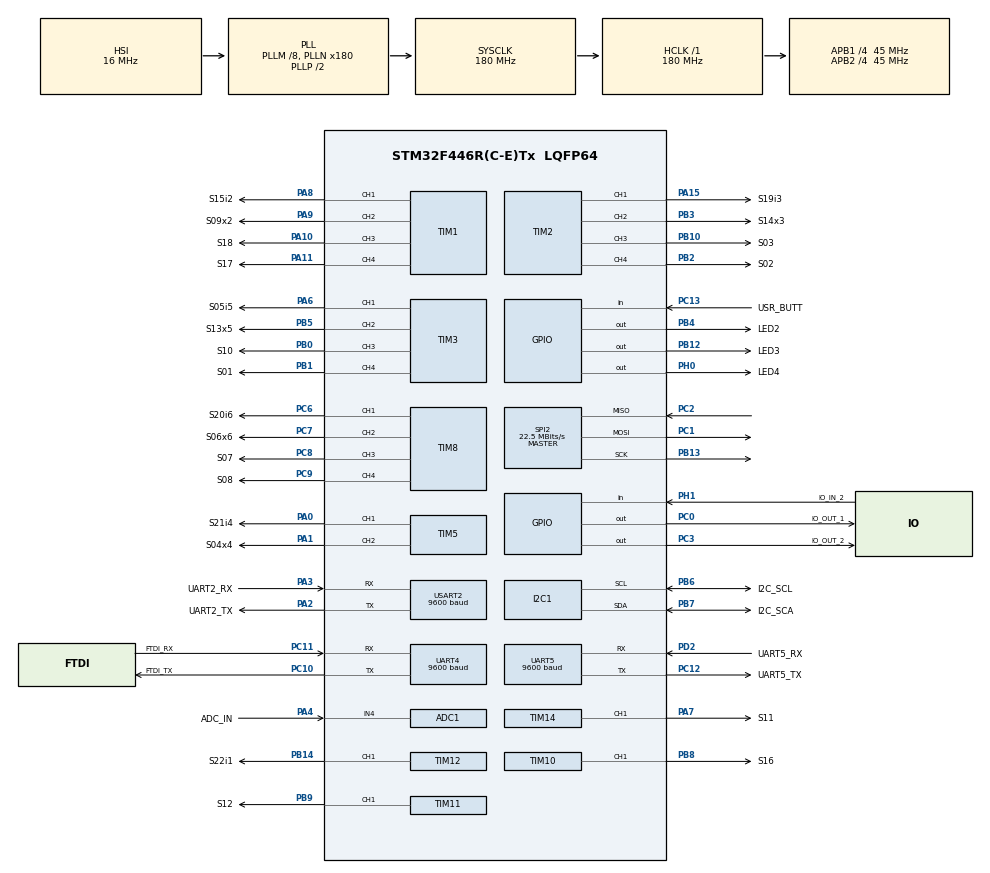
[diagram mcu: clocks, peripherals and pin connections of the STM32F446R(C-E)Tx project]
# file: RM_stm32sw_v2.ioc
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ADC1.Channel-0\#ChannelRegularConversion=ADC_CHANNEL_4
ADC1.NbrOfConversionFlag=1
ADC1.Rank-0\#ChannelRegularConversion=1
ADC1.SamplingTime-0\#ChannelRegularConversion=ADC_SAMPLETIME_3CYCLES
ADC1.master=1
Dma.Request0=USART2_RX
Dma.Request1=USART2_TX
Dma.Request2=UART4_RX
Dma.Request3=UART4_TX
Dma.Request4=UART5_RX
Dma.Request5=UART5_TX
Dma.Request6=SPI2_RX
Dma.SPI2_RX.6.Direction=DMA_PERIPH_TO_MEMORY
Dma.SPI2_RX.6.FIFOMode=DMA_FIFOMODE_DISABLE
Dma.SPI2_RX.6.Instance=DMA1_Stream3
Dma.SPI2_RX.6.MemDataAlignment=DMA_MDATAALIGN_BYTE
Dma.SPI2_RX.6.MemInc=DMA_MINC_ENABLE
Dma.SPI2_RX.6.Mode=DMA_NORMAL
Dma.SPI2_RX.6.PeriphDataAlignment=DMA_PDATAALIGN_BYTE
Dma.SPI2_RX.6.PeriphInc=DMA_PINC_DISABLE
Dma.SPI2_RX.6.Priority=DMA_PRIORITY_LOW
Dma.UART4_RX.2.Direction=DMA_PERIPH_TO_MEMORY
Dma.UART4_RX.2.FIFOMode=DMA_FIFOMODE_DISABLE
Dma.UART4_RX.2.Instance=DMA1_Stream2
Dma.UART4_RX.2.MemDataAlignment=DMA_MDATAALIGN_BYTE
Dma.UART4_RX.2.MemInc=DMA_MINC_ENABLE
Dma.UART4_RX.2.Mode=DMA_NORMAL
Dma.UART4_RX.2.PeriphDataAlignment=DMA_PDATAALIGN_BYTE
Dma.UART4_RX.2.PeriphInc=DMA_PINC_DISABLE
Dma.UART4_RX.2.Priority=DMA_PRIORITY_LOW
Dma.UART4_TX.3.Direction=DMA_MEMORY_TO_PERIPH
Dma.UART4_TX.3.FIFOMode=DMA_FIFOMODE_DISABLE
Dma.UART4_TX.3.Instance=DMA1_Stream4
Dma.UART4_TX.3.MemDataAlignment=DMA_MDATAALIGN_BYTE
Dma.UART4_TX.3.MemInc=DMA_MINC_ENABLE
Dma.UART4_TX.3.Mode=DMA_NORMAL
Dma.UART4_TX.3.PeriphDataAlignment=DMA_PDATAALIGN_BYTE
Dma.UART4_TX.3.PeriphInc=DMA_PINC_DISABLE
Dma.UART4_TX.3.Priority=DMA_PRIORITY_LOW
Dma.UART5_RX.4.Direction=DMA_PERIPH_TO_MEMORY
Dma.UART5_RX.4.FIFOMode=DMA_FIFOMODE_DISABLE
Dma.UART5_RX.4.Instance=DMA1_Stream0
Dma.UART5_RX.4.MemDataAlignment=DMA_MDATAALIGN_BYTE
Dma.UART5_RX.4.MemInc=DMA_MINC_ENABLE
Dma.UART5_RX.4.Mode=DMA_NORMAL
Dma.UART5_RX.4.PeriphDataAlignment=DMA_PDATAALIGN_BYTE
Dma.UART5_RX.4.PeriphInc=DMA_PINC_DISABLE
Dma.UART5_RX.4.Priority=DMA_PRIORITY_LOW
Dma.UART5_TX.5.Direction=DMA_MEMORY_TO_PERIPH
Dma.UART5_TX.5.FIFOMode=DMA_FIFOMODE_DISABLE
Dma.UART5_TX.5.Instance=DMA1_Stream7
Dma.UART5_TX.5.MemDataAlignment=DMA_MDATAALIGN_BYTE
Dma.UART5_TX.5.MemInc=DMA_MINC_ENABLE
Dma.UART5_TX.5.Mode=DMA_NORMAL
Dma.UART5_TX.5.PeriphDataAlignment=DMA_PDATAALIGN_BYTE
Dma.UART5_TX.5.PeriphInc=DMA_PINC_DISABLE
Dma.UART5_TX.5.Priority=DMA_PRIORITY_LOW
Dma.USART2_RX.0.Direction=DMA_PERIPH_TO_MEMORY
Dma.USART2_RX.0.FIFOMode=DMA_FIFOMODE_DISABLE
Dma.USART2_RX.0.Instance=DMA1_Stream5
Dma.USART2_RX.0.MemDataAlignment=DMA_MDATAALIGN_BYTE
Dma.USART2_RX.0.MemInc=DMA_MINC_ENABLE
Dma.USART2_RX.0.Mode=DMA_NORMAL
Dma.USART2_RX.0.PeriphDataAlignment=DMA_PDATAALIGN_BYTE
Dma.USART2_RX.0.PeriphInc=DMA_PINC_DISABLE
Dma.USART2_RX.0.Priority=DMA_PRIORITY_LOW
Dma.USART2_TX.1.Direction=DMA_MEMORY_TO_PERIPH
Dma.USART2_TX.1.FIFOMode=DMA_FIFOMODE_DISABLE
Dma.USART2_TX.1.Instance=DMA1_Stream6
Dma.USART2_TX.1.MemDataAlignment=DMA_MDATAALIGN_BYTE
Dma.USART2_TX.1.MemInc=DMA_MINC_ENABLE
Dma.USART2_TX.1.Mode=DMA_NORMAL
Dma.USART2_TX.1.PeriphDataAlignment=DMA_PDATAALIGN_BYTE
Dma.USART2_TX.1.PeriphInc=DMA_PINC_DISABLE
Dma.USART2_TX.1.Priority=DMA_PRIORITY_LOW
Mcu.Family=STM32F4
Mcu.Name=STM32F446R(C-E)Tx
Mcu.Package=LQFP64
NVIC.DMA1_Stream0_IRQn=true\:0\:0\:false\:false\:true\:false\:true
NVIC.DMA1_Stream2_IRQn=true\:0\:0\:false\:false\:true\:false\:true
NVIC.DMA1_Stream3_IRQn=true\:0\:0\:false\:false\:true\:false\:true
NVIC.DMA1_Stream4_IRQn=true\:0\:0\:false\:false\:true\:false\:true
NVIC.DMA1_Stream5_IRQn=true\:0\:0\:false\:false\:true\:false\:true
NVIC.DMA1_Stream6_IRQn=true\:0\:0\:false\:false\:true\:false\:true
NVIC.DMA1_Stream7_IRQn=true\:0\:0\:false\:false\:true\:false\:true
NVIC.PriorityGroup=NVIC_PRIORITYGROUP_4
NVIC.UART4_IRQn=true\:0\:0\:false\:false\:true\:true\:true
PA0-WKUP.GPIO_Label=S21i4
PA0-WKUP.Signal=S_TIM5_CH1
PA1.GPIO_Label=S04x4
PA1.Signal=S_TIM5_CH2
PA10.GPIO_Label=S18
PA10.Signal=S_TIM1_CH3
PA11.GPIO_Label=S17
PA11.Signal=S_TIM1_CH4
PA13.GPIO_Label=SWDIO
PA13.Mode=Serial_Wire
PA13.Signal=SYS_JTMS-SWDIO
PA14.GPIO_Label=SWCLK
PA14.Mode=Serial_Wire
PA14.Signal=SYS_JTCK-SWCLK
PA15.GPIO_Label=S19i3
PA15.Signal=S_TIM2_CH1_ETR
PA2.GPIO_Label=UART2_TX
PA2.Mode=Asynchronous
PA2.Signal=USART2_TX
PA3.GPIO_Label=UART2_RX
PA3.Mode=Asynchronous
PA3.Signal=USART2_RX
PA4.GPIO_Label=ADC_IN
PA4.Signal=SharedAnalog_PA4
PA6.GPIO_Label=S05i5
PA6.Signal=S_TIM3_CH1
PA7.GPIO_Label=S11
PA7.Signal=S_TIM14_CH1
PA8.GPIO_Label=S15i2
PA8.Signal=S_TIM1_CH1
PA9.GPIO_Label=S09x2
PA9.Signal=S_TIM1_CH2
PB0.GPIO_Label=S10
PB0.Signal=S_TIM3_CH3
PB1.GPIO_Label=S01
PB1.Signal=S_TIM3_CH4
PB10.GPIO_Label=S03
PB10.Signal=S_TIM2_CH3
PB12.GPIO_Label=LED3
PB12.Signal=GPIO_Output
PB13.Mode=Full_Duplex_Master
PB13.Signal=SPI2_SCK
PB14.GPIO_Label=S22i1
PB14.Signal=S_TIM12_CH1
PB2.GPIO_Label=S02
PB2.Signal=S_TIM2_CH4
PB3.GPIO_Label=S14x3
PB3.Signal=S_TIM2_CH2
PB4.GPIO_Label=LED2
PB4.Signal=GPIO_Output
PB5.GPIO_Label=S13x5
PB5.Signal=S_TIM3_CH2
PB6.GPIO_Label=I2C_SCL
PB6.Mode=I2C
PB6.Signal=I2C1_SCL
PB7.GPIO_Label=I2C_SCA
PB7.Mode=I2C
PB7.Signal=I2C1_SDA
PB8.GPIO_Label=S16
PB8.Signal=S_TIM10_CH1
PB9.GPIO_Label=S12
PB9.Signal=S_TIM11_CH1
PC0.GPIO_Label=IO_OUT_1
PC0.Signal=GPIO_Output
PC1.Mode=Full_Duplex_Master
PC1.Signal=SPI2_MOSI
PC10.GPIO_Label=FTDI_TX
PC10.Mode=Asynchronous
PC10.Signal=UART4_TX
PC11.GPIO_Label=FTDI_RX
PC11.Mode=Asynchronous
PC11.Signal=UART4_RX
PC12.GPIO_Label=UART5_TX
PC12.Mode=Asynchronous
PC12.Signal=UART5_TX
PC13.GPIO_Label=USR_BUTT
PC13.Signal=GPIO_Input
PC14-OSC32_IN.GPIO_Label=OSC_IN
PC14-OSC32_IN.Signal=RCC_OSC32_IN
PC15-OSC32_OUT.GPIO_Label=OSC_OUT
PC15-OSC32_OUT.Signal=RCC_OSC32_OUT
PC2.Mode=Full_Duplex_Master
PC2.Signal=SPI2_MISO
PC3.GPIO_Label=IO_OUT_2
PC3.Signal=GPIO_Output
PC6.GPIO_Label=S20i6
PC6.Signal=S_TIM8_CH1
PC7.GPIO_Label=S06x6
PC7.Signal=S_TIM8_CH2
PC8.GPIO_Label=S07
PC8.Signal=S_TIM8_CH3
PC9.GPIO_Label=S08
PC9.Signal=S_TIM8_CH4
PD2.GPIO_Label=UART5_RX
PD2.Mode=Asynchronous
PD2.Signal=UART5_RX
PH0-OSC_IN.GPIO_Label=LED4
PH0-OSC_IN.Signal=GPIO_Output
PH1-OSC_OUT.GPIO_Label=IO_IN_2
PH1-OSC_OUT.Signal=GPIO_Input
ProjectManager.HeapSize=0x200
ProjectManager.StackSize=0x400
ProjectManager.TargetToolchain=TrueSTUDIO
RCC.AHBFreq_Value=180000000
RCC.APB1CLKDivider=RCC_HCLK_DIV4
RCC.APB1Freq_Value=45000000
RCC.APB1TimFreq_Value=90000000
RCC.APB2CLKDivider=RCC_HCLK_DIV4
RCC.APB2Freq_Value=45000000
RCC.APB2TimFreq_Value=90000000
RCC.CortexFreq_Value=180000000
RCC.HCLKFreq_Value=180000000
RCC.PLLM=8
RCC.PLLN=180
RCC.SYSCLKFreq_VALUE=180000000
RCC.SYSCLKSource=RCC_SYSCLKSOURCE_PLLCLK
RCC.USBFreq_Value=180000000
RCC.VCOOutputFreq_Value=360000000
SH.S_TIM10_CH1.0=TIM10_CH1,PWM Generation1 CH1
SH.S_TIM11_CH1.0=TIM11_CH1,PWM Generation1 CH1
SH.S_TIM12_CH1.0=TIM12_CH1,PWM Generation1 CH1
SH.S_TIM14_CH1.0=TIM14_CH1,PWM Generation1 CH1
SH.S_TIM1_CH1.0=TIM1_CH1,PWM Generation1 CH1
SH.S_TIM1_CH2.0=TIM1_CH2,PWM Generation2 CH2
SH.S_TIM1_CH3.0=TIM1_CH3,PWM Generation3 CH3
SH.S_TIM1_CH4.0=TIM1_CH4,PWM Generation4 CH4
SH.S_TIM2_CH1_ETR.0=TIM2_CH1,PWM Generation1 CH1
SH.S_TIM2_CH2.0=TIM2_CH2,PWM Generation2 CH2
SH.S_TIM2_CH3.0=TIM2_CH3,PWM Generation3 CH3
SH.S_TIM2_CH4.0=TIM2_CH4,PWM Generation4 CH4
SH.S_TIM3_CH1.0=TIM3_CH1,PWM Generation1 CH1
SH.S_TIM3_CH2.0=TIM3_CH2,PWM Generation2 CH2
SH.S_TIM3_CH3.0=TIM3_CH3,PWM Generation3 CH3
SH.S_TIM3_CH4.0=TIM3_CH4,PWM Generation4 CH4
SH.S_TIM5_CH1.0=TIM5_CH1,PWM Generation1 CH1
SH.S_TIM5_CH2.0=TIM5_CH2,PWM Generation2 CH2
SH.S_TIM8_CH1.0=TIM8_CH1,PWM Generation1 CH1
SH.S_TIM8_CH2.0=TIM8_CH2,PWM Generation2 CH2
SH.S_TIM8_CH3.0=TIM8_CH3,PWM Generation3 CH3
SH.S_TIM8_CH4.0=TIM8_CH4,PWM Generation4 CH4
SH.SharedAnalog_PA4.0=GPIO_Analog
SH.SharedAnalog_PA4.1=ADC1_IN4,IN4
SPI2.CalculateBaudRate=22.5 MBits/s
SPI2.Direction=SPI_DIRECTION_2LINES
SPI2.Mode=SPI_MODE_MASTER
SPI2.VirtualType=VM_MASTER
TIM1.Channel-PWM\ Generation1\ CH1=TIM_CHANNEL_1
TIM1.Channel-PWM\ Generation2\ CH2=TIM_CHANNEL_2
TIM1.Channel-PWM\ Generation3\ CH3=TIM_CHANNEL_3
TIM1.Channel-PWM\ Generation4\ CH4=TIM_CHANNEL_4
TIM10.Channel=TIM_CHANNEL_1
TIM11.Channel=TIM_CHANNEL_1
TIM12.Channel-PWM\ Generation1\ CH1=TIM_CHANNEL_1
TIM14.Channel=TIM_CHANNEL_1
TIM2.Channel-PWM\ Generation1\ CH1=TIM_CHANNEL_1
TIM2.Channel-PWM\ Generation2\ CH2=TIM_CHANNEL_2
TIM2.Channel-PWM\ Generation3\ CH3=TIM_CHANNEL_3
TIM2.Channel-PWM\ Generation4\ CH4=TIM_CHANNEL_4
TIM3.Channel-PWM\ Generation1\ CH1=TIM_CHANNEL_1
TIM3.Channel-PWM\ Generation2\ CH2=TIM_CHANNEL_2
TIM3.Channel-PWM\ Generation3\ CH3=TIM_CHANNEL_3
TIM3.Channel-PWM\ Generation4\ CH4=TIM_CHANNEL_4
TIM5.Channel-PWM\ Generation1\ CH1=TIM_CHANNEL_1
TIM5.Channel-PWM\ Generation2\ CH2=TIM_CHANNEL_2
TIM8.Channel-PWM\ Generation1\ CH1=TIM_CHANNEL_1
TIM8.Channel-PWM\ Generation2\ CH2=TIM_CHANNEL_2
TIM8.Channel-PWM\ Generation3\ CH3=TIM_CHANNEL_3
TIM8.Channel-PWM\ Generation4\ CH4=TIM_CHANNEL_4
UART4.BaudRate=9600
UART4.VirtualMode=Asynchronous
UART5.BaudRate=9600
UART5.VirtualMode=Asynchronous
USART2.BaudRate=9600
USART2.VirtualMode=VM_ASYNC
VP_RTC_VS_RTC_Activate.Mode=RTC_Enabled
VP_TIM10_VS_ClockSourceINT.Mode=Enable_Timer
VP_TIM11_VS_ClockSourceINT.Mode=Enable_Timer
VP_TIM12_VS_ClockSourceINT.Mode=Internal
VP_TIM14_VS_ClockSourceINT.Mode=Enable_Timer
VP_TIM1_VS_ClockSourceINT.Mode=Internal
VP_TIM2_VS_ClockSourceINT.Mode=Internal
VP_TIM3_VS_ClockSourceINT.Mode=Internal
VP_TIM8_VS_ClockSourceINT.Mode=Internal
board=custom

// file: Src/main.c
/* USER CODE BEGIN Header */
/**
  ******************************************************************************
  * @file           : main.c
  * @brief          : Main program body
  ******************************************************************************
  * @attention
  *
  * <h2><center>&copy; Copyright (c) 2020 STMicroelectronics.
  * All rights reserved.</center></h2>
  *
  * This software component is licensed by ST under BSD 3-Clause license,
  * the "License"; You may not use this file except in compliance with the
  * License. You may obtain a copy of the License at:
  *                        opensource.org/licenses/BSD-3-Clause
  *
  ******************************************************************************
  */
/* USER CODE END Header */

#include "main.h"

/* USER CODE BEGIN Includes */
#include "serial.h"

/* USER CODE END Includes */

ADC_HandleTypeDef hadc1;

I2C_HandleTypeDef hi2c1;

RTC_HandleTypeDef hrtc;

SPI_HandleTypeDef hspi2;
DMA_HandleTypeDef hdma_spi2_rx;

TIM_HandleTypeDef htim1;
TIM_HandleTypeDef htim2;
TIM_HandleTypeDef htim3;
TIM_HandleTypeDef htim5;
TIM_HandleTypeDef htim8;
TIM_HandleTypeDef htim10;
TIM_HandleTypeDef htim11;
TIM_HandleTypeDef htim12;
TIM_HandleTypeDef htim14;

UART_HandleTypeDef huart4;
UART_HandleTypeDef huart5;
UART_HandleTypeDef huart2;
DMA_HandleTypeDef hdma_uart4_rx;
DMA_HandleTypeDef hdma_uart4_tx;
DMA_HandleTypeDef hdma_uart5_rx;
DMA_HandleTypeDef hdma_uart5_tx;
DMA_HandleTypeDef hdma_usart2_rx;
DMA_HandleTypeDef hdma_usart2_tx;

/* USER CODE BEGIN PV */
HAL_Serial_Handler FTDI_hserial;
HAL_Serial_Handler BT_hserial;
HAL_LineBuffer_Handler FTDI_hlinebuffer;

/* USER CODE END PV */

void SystemClock_Config(void);
static void MX_GPIO_Init(void);
static void MX_DMA_Init(void);
static void MX_ADC1_Init(void);
static void MX_I2C1_Init(void);
static void MX_RTC_Init(void);
static void MX_SPI2_Init(void);
static void MX_TIM1_Init(void);
static void MX_TIM2_Init(void);
static void MX_TIM3_Init(void);
static void MX_TIM5_Init(void);
static void MX_TIM8_Init(void);
static void MX_TIM10_Init(void);
static void MX_TIM11_Init(void);
static void MX_TIM12_Init(void);
static void MX_TIM14_Init(void);
static void MX_UART4_Init(void);
static void MX_UART5_Init(void);
static void MX_USART2_UART_Init(void);

int main(void)
{
  /* USER CODE BEGIN 1 */
  int i;
  int len;
  char cmd_line[64];

  /* USER CODE END 1 */

  /* MCU Configuration--------------------------------------------------------*/

  /* Reset of all peripherals, Initializes the Flash interface and the Systick. */
  HAL_Init();

  /* Configure the system clock */
  SystemClock_Config();

  /* Initialize all configured peripherals */
  MX_GPIO_Init();
  MX_DMA_Init();
  MX_ADC1_Init();
  MX_I2C1_Init();
  MX_RTC_Init();
  MX_SPI2_Init();
  MX_TIM1_Init();
  MX_TIM2_Init();
  MX_TIM3_Init();
  MX_TIM5_Init();
  MX_TIM8_Init();
  MX_TIM10_Init();
  MX_TIM11_Init();
  MX_TIM12_Init();
  MX_TIM14_Init();
  MX_UART4_Init();
  MX_UART5_Init();
  MX_USART2_UART_Init();
  /* USER CODE BEGIN 2 */

  HAL_Serial_Init(&huart4, &FTDI_hserial);
  HAL_Serial_Init(&huart2, &BT_hserial);
  HAL_LineBuffer_Init(&FTDI_hlinebuffer, &FTDI_hserial);

  LedSwitch(2,GPIO_PIN_SET);
  LedSwitch(3,GPIO_PIN_SET);
  LedSwitch(4,GPIO_PIN_SET);

  /* USER CODE END 2 */

  /* Infinite loop */
  /* USER CODE BEGIN WHILE */

  while (1)
  {
    LedSwitch(4, GPIO_PIN_RESET);
    /* USER CODE END WHILE */

    /* USER CODE BEGIN 3 */
    if(len=HAL_LineBuffer_Read(&FTDI_hlinebuffer, cmd_line, sizeof(cmd_line)))
    {
      HAL_Serial_Write(&FTDI_hserial, (uint8_t *)cmd_line, len);
      // interpret command
    }

    //HAL_Serial_Write(&FTDI_hserial, (uint8_t*)"blabla\n", 7);
    HAL_Delay(500);
    LedSwitch(4, GPIO_PIN_SET);
    HAL_Delay(500);
  }
  /* USER CODE END 3 */
}

void SystemClock_Config(void)
{
  RCC_OscInitTypeDef RCC_OscInitStruct = {0};
  RCC_ClkInitTypeDef RCC_ClkInitStruct = {0};
  RCC_PeriphCLKInitTypeDef PeriphClkInitStruct = {0};

  /** Configure the main internal regulator output voltage
  */
  __HAL_RCC_PWR_CLK_ENABLE();
  __HAL_PWR_VOLTAGESCALING_CONFIG(PWR_REGULATOR_VOLTAGE_SCALE1);
  /** Initializes the CPU, AHB and APB busses clocks
  */
  RCC_OscInitStruct.OscillatorType = RCC_OSCILLATORTYPE_HSI|RCC_OSCILLATORTYPE_LSI;
  RCC_OscInitStruct.LSEState = RCC_LSE_OFF;
  RCC_OscInitStruct.HSIState = RCC_HSI_ON;
  RCC_OscInitStruct.HSICalibrationValue = RCC_HSICALIBRATION_DEFAULT;
  RCC_OscInitStruct.LSIState = RCC_LSI_ON;
  RCC_OscInitStruct.PLL.PLLState = RCC_PLL_ON;
  RCC_OscInitStruct.PLL.PLLSource = RCC_PLLSOURCE_HSI;
  RCC_OscInitStruct.PLL.PLLM = 8;
  RCC_OscInitStruct.PLL.PLLN = 180;
  RCC_OscInitStruct.PLL.PLLP = RCC_PLLP_DIV2;
  RCC_OscInitStruct.PLL.PLLQ = 2;
  RCC_OscInitStruct.PLL.PLLR = 2;
  if (HAL_RCC_OscConfig(&RCC_OscInitStruct) != HAL_OK)
  {
    Error_Handler();
  }
  /** Activate the Over-Drive mode
  */
  if (HAL_PWREx_EnableOverDrive() != HAL_OK)
  {
    Error_Handler();
  }
  /** Initializes the CPU, AHB and APB busses clocks
  */
  RCC_ClkInitStruct.ClockType = RCC_CLOCKTYPE_HCLK|RCC_CLOCKTYPE_SYSCLK
                              |RCC_CLOCKTYPE_PCLK1|RCC_CLOCKTYPE_PCLK2;
  RCC_ClkInitStruct.SYSCLKSource = RCC_SYSCLKSOURCE_PLLCLK;
  RCC_ClkInitStruct.AHBCLKDivider = RCC_SYSCLK_DIV1;
  RCC_ClkInitStruct.APB1CLKDivider = RCC_HCLK_DIV4;
  RCC_ClkInitStruct.APB2CLKDivider = RCC_HCLK_DIV4;

  if (HAL_RCC_ClockConfig(&RCC_ClkInitStruct, FLASH_LATENCY_5) != HAL_OK)
  {
    Error_Handler();
  }
  PeriphClkInitStruct.PeriphClockSelection = RCC_PERIPHCLK_RTC;
  PeriphClkInitStruct.RTCClockSelection = RCC_RTCCLKSOURCE_LSI;
  if (HAL_RCCEx_PeriphCLKConfig(&PeriphClkInitStruct) != HAL_OK)
  {
    Error_Handler();
  }
}

static void MX_ADC1_Init(void)
{

  ADC_ChannelConfTypeDef sConfig = {0};

  /** Configure the global features of the ADC (Clock, Resolution, Data Alignment and number of conversion)
  */
  hadc1.Instance = ADC1;
  hadc1.Init.ClockPrescaler = ADC_CLOCK_SYNC_PCLK_DIV2;
  hadc1.Init.Resolution = ADC_RESOLUTION_12B;
  hadc1.Init.ScanConvMode = DISABLE;
  hadc1.Init.ContinuousConvMode = DISABLE;
  hadc1.Init.DiscontinuousConvMode = DISABLE;
  hadc1.Init.ExternalTrigConvEdge = ADC_EXTERNALTRIGCONVEDGE_NONE;
  hadc1.Init.ExternalTrigConv = ADC_SOFTWARE_START;
  hadc1.Init.DataAlign = ADC_DATAALIGN_RIGHT;
  hadc1.Init.NbrOfConversion = 1;
  hadc1.Init.DMAContinuousRequests = DISABLE;
  hadc1.Init.EOCSelection = ADC_EOC_SINGLE_CONV;
  if (HAL_ADC_Init(&hadc1) != HAL_OK)
  {
    Error_Handler();
  }
  /** Configure for the selected ADC regular channel its corresponding rank in the sequencer and its sample time.
  */
  sConfig.Channel = ADC_CHANNEL_4;
  sConfig.Rank = 1;
  sConfig.SamplingTime = ADC_SAMPLETIME_3CYCLES;
  if (HAL_ADC_ConfigChannel(&hadc1, &sConfig) != HAL_OK)
  {
    Error_Handler();
  }

}

static void MX_I2C1_Init(void)
{

  hi2c1.Instance = I2C1;
  hi2c1.Init.ClockSpeed = 100000;
  hi2c1.Init.DutyCycle = I2C_DUTYCYCLE_2;
  hi2c1.Init.OwnAddress1 = 0;
  hi2c1.Init.AddressingMode = I2C_ADDRESSINGMODE_7BIT;
  hi2c1.Init.DualAddressMode = I2C_DUALADDRESS_DISABLE;
  hi2c1.Init.OwnAddress2 = 0;
  hi2c1.Init.GeneralCallMode = I2C_GENERALCALL_DISABLE;
  hi2c1.Init.NoStretchMode = I2C_NOSTRETCH_DISABLE;
  if (HAL_I2C_Init(&hi2c1) != HAL_OK)
  {
    Error_Handler();
  }

}

static void MX_RTC_Init(void)
{

  /** Initialize RTC Only
  */
  hrtc.Instance = RTC;
  hrtc.Init.HourFormat = RTC_HOURFORMAT_24;
  hrtc.Init.AsynchPrediv = 127;
  hrtc.Init.SynchPrediv = 255;
  hrtc.Init.OutPut = RTC_OUTPUT_DISABLE;
  hrtc.Init.OutPutPolarity = RTC_OUTPUT_POLARITY_HIGH;
  hrtc.Init.OutPutType = RTC_OUTPUT_TYPE_OPENDRAIN;
  if (HAL_RTC_Init(&hrtc) != HAL_OK)
  {
    Error_Handler();
  }

}

static void MX_SPI2_Init(void)
{

  /* SPI2 parameter configuration*/
  hspi2.Instance = SPI2;
  hspi2.Init.Mode = SPI_MODE_MASTER;
  hspi2.Init.Direction = SPI_DIRECTION_2LINES;
  hspi2.Init.DataSize = SPI_DATASIZE_8BIT;
  hspi2.Init.CLKPolarity = SPI_POLARITY_LOW;
  hspi2.Init.CLKPhase = SPI_PHASE_1EDGE;
  hspi2.Init.NSS = SPI_NSS_SOFT;
  hspi2.Init.BaudRatePrescaler = SPI_BAUDRATEPRESCALER_2;
  hspi2.Init.FirstBit = SPI_FIRSTBIT_MSB;
  hspi2.Init.TIMode = SPI_TIMODE_DISABLE;
  hspi2.Init.CRCCalculation = SPI_CRCCALCULATION_DISABLE;
  hspi2.Init.CRCPolynomial = 10;
  if (HAL_SPI_Init(&hspi2) != HAL_OK)
  {
    Error_Handler();
  }

}

static void MX_TIM1_Init(void)
{

  TIM_ClockConfigTypeDef sClockSourceConfig = {0};
  TIM_MasterConfigTypeDef sMasterConfig = {0};
  TIM_OC_InitTypeDef sConfigOC = {0};
  TIM_BreakDeadTimeConfigTypeDef sBreakDeadTimeConfig = {0};

  htim1.Instance = TIM1;
  htim1.Init.Prescaler = 0;
  htim1.Init.CounterMode = TIM_COUNTERMODE_UP;
  htim1.Init.Period = 0;
  htim1.Init.ClockDivision = TIM_CLOCKDIVISION_DIV1;
  htim1.Init.RepetitionCounter = 0;
  htim1.Init.AutoReloadPreload = TIM_AUTORELOAD_PRELOAD_DISABLE;
  if (HAL_TIM_Base_Init(&htim1) != HAL_OK)
  {
    Error_Handler();
  }
  sClockSourceConfig.ClockSource = TIM_CLOCKSOURCE_INTERNAL;
  if (HAL_TIM_ConfigClockSource(&htim1, &sClockSourceConfig) != HAL_OK)
  {
    Error_Handler();
  }
  if (HAL_TIM_PWM_Init(&htim1) != HAL_OK)
  {
    Error_Handler();
  }
  sMasterConfig.MasterOutputTrigger = TIM_TRGO_RESET;
  sMasterConfig.MasterSlaveMode = TIM_MASTERSLAVEMODE_DISABLE;
  if (HAL_TIMEx_MasterConfigSynchronization(&htim1, &sMasterConfig) != HAL_OK)
  {
    Error_Handler();
  }
  sConfigOC.OCMode = TIM_OCMODE_PWM1;
  sConfigOC.Pulse = 0;
  sConfigOC.OCPolarity = TIM_OCPOLARITY_HIGH;
  sConfigOC.OCNPolarity = TIM_OCNPOLARITY_HIGH;
  sConfigOC.OCFastMode = TIM_OCFAST_DISABLE;
  sConfigOC.OCIdleState = TIM_OCIDLESTATE_RESET;
  sConfigOC.OCNIdleState = TIM_OCNIDLESTATE_RESET;
  if (HAL_TIM_PWM_ConfigChannel(&htim1, &sConfigOC, TIM_CHANNEL_1) != HAL_OK)
  {
    Error_Handler();
  }
  if (HAL_TIM_PWM_ConfigChannel(&htim1, &sConfigOC, TIM_CHANNEL_2) != HAL_OK)
  {
    Error_Handler();
  }
  if (HAL_TIM_PWM_ConfigChannel(&htim1, &sConfigOC, TIM_CHANNEL_3) != HAL_OK)
  {
    Error_Handler();
  }
  if (HAL_TIM_PWM_ConfigChannel(&htim1, &sConfigOC, TIM_CHANNEL_4) != HAL_OK)
  {
    Error_Handler();
  }
  sBreakDeadTimeConfig.OffStateRunMode = TIM_OSSR_DISABLE;
  sBreakDeadTimeConfig.OffStateIDLEMode = TIM_OSSI_DISABLE;
  sBreakDeadTimeConfig.LockLevel = TIM_LOCKLEVEL_OFF;
  sBreakDeadTimeConfig.DeadTime = 0;
  sBreakDeadTimeConfig.BreakState = TIM_BREAK_DISABLE;
  sBreakDeadTimeConfig.BreakPolarity = TIM_BREAKPOLARITY_HIGH;
  sBreakDeadTimeConfig.AutomaticOutput = TIM_AUTOMATICOUTPUT_DISABLE;
  if (HAL_TIMEx_ConfigBreakDeadTime(&htim1, &sBreakDeadTimeConfig) != HAL_OK)
  {
    Error_Handler();
  }
  HAL_TIM_MspPostInit(&htim1);

}

static void MX_TIM2_Init(void)
{

  TIM_ClockConfigTypeDef sClockSourceConfig = {0};
  TIM_MasterConfigTypeDef sMasterConfig = {0};
  TIM_OC_InitTypeDef sConfigOC = {0};

  htim2.Instance = TIM2;
  htim2.Init.Prescaler = 0;
  htim2.Init.CounterMode = TIM_COUNTERMODE_UP;
  htim2.Init.Period = 0;
  htim2.Init.ClockDivision = TIM_CLOCKDIVISION_DIV1;
  htim2.Init.AutoReloadPreload = TIM_AUTORELOAD_PRELOAD_DISABLE;
  if (HAL_TIM_Base_Init(&htim2) != HAL_OK)
  {
    Error_Handler();
  }
  sClockSourceConfig.ClockSource = TIM_CLOCKSOURCE_INTERNAL;
  if (HAL_TIM_ConfigClockSource(&htim2, &sClockSourceConfig) != HAL_OK)
  {
    Error_Handler();
  }
  if (HAL_TIM_PWM_Init(&htim2) != HAL_OK)
  {
    Error_Handler();
  }
  sMasterConfig.MasterOutputTrigger = TIM_TRGO_RESET;
  sMasterConfig.MasterSlaveMode = TIM_MASTERSLAVEMODE_DISABLE;
  if (HAL_TIMEx_MasterConfigSynchronization(&htim2, &sMasterConfig) != HAL_OK)
  {
    Error_Handler();
  }
  sConfigOC.OCMode = TIM_OCMODE_PWM1;
  sConfigOC.Pulse = 0;
  sConfigOC.OCPolarity = TIM_OCPOLARITY_HIGH;
  sConfigOC.OCFastMode = TIM_OCFAST_DISABLE;
  if (HAL_TIM_PWM_ConfigChannel(&htim2, &sConfigOC, TIM_CHANNEL_1) != HAL_OK)
  {
    Error_Handler();
  }
  if (HAL_TIM_PWM_ConfigChannel(&htim2, &sConfigOC, TIM_CHANNEL_2) != HAL_OK)
  {
    Error_Handler();
  }
  if (HAL_TIM_PWM_ConfigChannel(&htim2, &sConfigOC, TIM_CHANNEL_3) != HAL_OK)
  {
    Error_Handler();
  }
  if (HAL_TIM_PWM_ConfigChannel(&htim2, &sConfigOC, TIM_CHANNEL_4) != HAL_OK)
  {
    Error_Handler();
  }
  HAL_TIM_MspPostInit(&htim2);

}

static void MX_TIM3_Init(void)
{

  TIM_ClockConfigTypeDef sClockSourceConfig = {0};
  TIM_MasterConfigTypeDef sMasterConfig = {0};
  TIM_OC_InitTypeDef sConfigOC = {0};

  htim3.Instance = TIM3;
  htim3.Init.Prescaler = 0;
  htim3.Init.CounterMode = TIM_COUNTERMODE_UP;
  htim3.Init.Period = 0;
  htim3.Init.ClockDivision = TIM_CLOCKDIVISION_DIV1;
  htim3.Init.AutoReloadPreload = TIM_AUTORELOAD_PRELOAD_DISABLE;
  if (HAL_TIM_Base_Init(&htim3) != HAL_OK)
  {
    Error_Handler();
  }
  sClockSourceConfig.ClockSource = TIM_CLOCKSOURCE_INTERNAL;
  if (HAL_TIM_ConfigClockSource(&htim3, &sClockSourceConfig) != HAL_OK)
  {
    Error_Handler();
  }
  if (HAL_TIM_PWM_Init(&htim3) != HAL_OK)
  {
    Error_Handler();
  }
  sMasterConfig.MasterOutputTrigger = TIM_TRGO_RESET;
  sMasterConfig.MasterSlaveMode = TIM_MASTERSLAVEMODE_DISABLE;
  if (HAL_TIMEx_MasterConfigSynchronization(&htim3, &sMasterConfig) != HAL_OK)
  {
    Error_Handler();
  }
  sConfigOC.OCMode = TIM_OCMODE_PWM1;
  sConfigOC.Pulse = 0;
  sConfigOC.OCPolarity = TIM_OCPOLARITY_HIGH;
  sConfigOC.OCFastMode = TIM_OCFAST_DISABLE;
  if (HAL_TIM_PWM_ConfigChannel(&htim3, &sConfigOC, TIM_CHANNEL_1) != HAL_OK)
  {
    Error_Handler();
  }
  if (HAL_TIM_PWM_ConfigChannel(&htim3, &sConfigOC, TIM_CHANNEL_2) != HAL_OK)
  {
    Error_Handler();
  }
  if (HAL_TIM_PWM_ConfigChannel(&htim3, &sConfigOC, TIM_CHANNEL_3) != HAL_OK)
  {
    Error_Handler();
  }
  if (HAL_TIM_PWM_ConfigChannel(&htim3, &sConfigOC, TIM_CHANNEL_4) != HAL_OK)
  {
    Error_Handler();
  }
  HAL_TIM_MspPostInit(&htim3);

}

static void MX_TIM5_Init(void)
{

  TIM_MasterConfigTypeDef sMasterConfig = {0};
  TIM_OC_InitTypeDef sConfigOC = {0};

  htim5.Instance = TIM5;
  htim5.Init.Prescaler = 0;
  htim5.Init.CounterMode = TIM_COUNTERMODE_UP;
  htim5.Init.Period = 0;
  htim5.Init.ClockDivision = TIM_CLOCKDIVISION_DIV1;
  htim5.Init.AutoReloadPreload = TIM_AUTORELOAD_PRELOAD_DISABLE;
  if (HAL_TIM_PWM_Init(&htim5) != HAL_OK)
  {
    Error_Handler();
  }
  sMasterConfig.MasterOutputTrigger = TIM_TRGO_RESET;
  sMasterConfig.MasterSlaveMode = TIM_MASTERSLAVEMODE_DISABLE;
  if (HAL_TIMEx_MasterConfigSynchronization(&htim5, &sMasterConfig) != HAL_OK)
  {
    Error_Handler();
  }
  sConfigOC.OCMode = TIM_OCMODE_PWM1;
  sConfigOC.Pulse = 0;
  sConfigOC.OCPolarity = TIM_OCPOLARITY_HIGH;
  sConfigOC.OCFastMode = TIM_OCFAST_DISABLE;
  if (HAL_TIM_PWM_ConfigChannel(&htim5, &sConfigOC, TIM_CHANNEL_1) != HAL_OK)
  {
    Error_Handler();
  }
  if (HAL_TIM_PWM_ConfigChannel(&htim5, &sConfigOC, TIM_CHANNEL_2) != HAL_OK)
  {
    Error_Handler();
  }
  HAL_TIM_MspPostInit(&htim5);

}

static void MX_TIM8_Init(void)
{

  TIM_ClockConfigTypeDef sClockSourceConfig = {0};
  TIM_MasterConfigTypeDef sMasterConfig = {0};
  TIM_OC_InitTypeDef sConfigOC = {0};
  TIM_BreakDeadTimeConfigTypeDef sBreakDeadTimeConfig = {0};

  htim8.Instance = TIM8;
  htim8.Init.Prescaler = 0;
  htim8.Init.CounterMode = TIM_COUNTERMODE_UP;
  htim8.Init.Period = 0;
  htim8.Init.ClockDivision = TIM_CLOCKDIVISION_DIV1;
  htim8.Init.RepetitionCounter = 0;
  htim8.Init.AutoReloadPreload = TIM_AUTORELOAD_PRELOAD_DISABLE;
  if (HAL_TIM_Base_Init(&htim8) != HAL_OK)
  {
    Error_Handler();
  }
  sClockSourceConfig.ClockSource = TIM_CLOCKSOURCE_INTERNAL;
  if (HAL_TIM_ConfigClockSource(&htim8, &sClockSourceConfig) != HAL_OK)
  {
    Error_Handler();
  }
  if (HAL_TIM_PWM_Init(&htim8) != HAL_OK)
  {
    Error_Handler();
  }
  sMasterConfig.MasterOutputTrigger = TIM_TRGO_RESET;
  sMasterConfig.MasterSlaveMode = TIM_MASTERSLAVEMODE_DISABLE;
  if (HAL_TIMEx_MasterConfigSynchronization(&htim8, &sMasterConfig) != HAL_OK)
  {
    Error_Handler();
  }
  sConfigOC.OCMode = TIM_OCMODE_PWM1;
  sConfigOC.Pulse = 0;
  sConfigOC.OCPolarity = TIM_OCPOLARITY_HIGH;
  sConfigOC.OCNPolarity = TIM_OCNPOLARITY_HIGH;
  sConfigOC.OCFastMode = TIM_OCFAST_DISABLE;
  sConfigOC.OCIdleState = TIM_OCIDLESTATE_RESET;
  sConfigOC.OCNIdleState = TIM_OCNIDLESTATE_RESET;
  if (HAL_TIM_PWM_ConfigChannel(&htim8, &sConfigOC, TIM_CHANNEL_1) != HAL_OK)
  {
    Error_Handler();
  }
  if (HAL_TIM_PWM_ConfigChannel(&htim8, &sConfigOC, TIM_CHANNEL_2) != HAL_OK)
  {
    Error_Handler();
  }
  if (HAL_TIM_PWM_ConfigChannel(&htim8, &sConfigOC, TIM_CHANNEL_3) != HAL_OK)
  {
    Error_Handler();
  }
  if (HAL_TIM_PWM_ConfigChannel(&htim8, &sConfigOC, TIM_CHANNEL_4) != HAL_OK)
  {
    Error_Handler();
  }
  sBreakDeadTimeConfig.OffStateRunMode = TIM_OSSR_DISABLE;
  sBreakDeadTimeConfig.OffStateIDLEMode = TIM_OSSI_DISABLE;
  sBreakDeadTimeConfig.LockLevel = TIM_LOCKLEVEL_OFF;
  sBreakDeadTimeConfig.DeadTime = 0;
  sBreakDeadTimeConfig.BreakState = TIM_BREAK_DISABLE;
  sBreakDeadTimeConfig.BreakPolarity = TIM_BREAKPOLARITY_HIGH;
  sBreakDeadTimeConfig.AutomaticOutput = TIM_AUTOMATICOUTPUT_DISABLE;
  if (HAL_TIMEx_ConfigBreakDeadTime(&htim8, &sBreakDeadTimeConfig) != HAL_OK)
  {
    Error_Handler();
  }
  HAL_TIM_MspPostInit(&htim8);

}

static void MX_TIM10_Init(void)
{

  TIM_OC_InitTypeDef sConfigOC = {0};

  htim10.Instance = TIM10;
  htim10.Init.Prescaler = 0;
  htim10.Init.CounterMode = TIM_COUNTERMODE_UP;
  htim10.Init.Period = 0;
  htim10.Init.ClockDivision = TIM_CLOCKDIVISION_DIV1;
  htim10.Init.AutoReloadPreload = TIM_AUTORELOAD_PRELOAD_DISABLE;
  if (HAL_TIM_Base_Init(&htim10) != HAL_OK)
  {
    Error_Handler();
  }
  if (HAL_TIM_PWM_Init(&htim10) != HAL_OK)
  {
    Error_Handler();
  }
  sConfigOC.OCMode = TIM_OCMODE_PWM1;
  sConfigOC.Pulse = 0;
  sConfigOC.OCPolarity = TIM_OCPOLARITY_HIGH;
  sConfigOC.OCFastMode = TIM_OCFAST_DISABLE;
  if (HAL_TIM_PWM_ConfigChannel(&htim10, &sConfigOC, TIM_CHANNEL_1) != HAL_OK)
  {
    Error_Handler();
  }
  HAL_TIM_MspPostInit(&htim10);

}

static void MX_TIM11_Init(void)
{

  TIM_OC_InitTypeDef sConfigOC = {0};

  htim11.Instance = TIM11;
  htim11.Init.Prescaler = 0;
  htim11.Init.CounterMode = TIM_COUNTERMODE_UP;
  htim11.Init.Period = 0;
  htim11.Init.ClockDivision = TIM_CLOCKDIVISION_DIV1;
  htim11.Init.AutoReloadPreload = TIM_AUTORELOAD_PRELOAD_DISABLE;
  if (HAL_TIM_Base_Init(&htim11) != HAL_OK)
  {
    Error_Handler();
  }
  if (HAL_TIM_PWM_Init(&htim11) != HAL_OK)
  {
    Error_Handler();
  }
  sConfigOC.OCMode = TIM_OCMODE_PWM1;
  sConfigOC.Pulse = 0;
  sConfigOC.OCPolarity = TIM_OCPOLARITY_HIGH;
  sConfigOC.OCFastMode = TIM_OCFAST_DISABLE;
  if (HAL_TIM_PWM_ConfigChannel(&htim11, &sConfigOC, TIM_CHANNEL_1) != HAL_OK)
  {
    Error_Handler();
  }
  HAL_TIM_MspPostInit(&htim11);

}

static void MX_TIM12_Init(void)
{

  TIM_ClockConfigTypeDef sClockSourceConfig = {0};
  TIM_OC_InitTypeDef sConfigOC = {0};

  htim12.Instance = TIM12;
  htim12.Init.Prescaler = 0;
  htim12.Init.CounterMode = TIM_COUNTERMODE_UP;
  htim12.Init.Period = 0;
  htim12.Init.ClockDivision = TIM_CLOCKDIVISION_DIV1;
  htim12.Init.AutoReloadPreload = TIM_AUTORELOAD_PRELOAD_DISABLE;
  if (HAL_TIM_Base_Init(&htim12) != HAL_OK)
  {
    Error_Handler();
  }
  sClockSourceConfig.ClockSource = TIM_CLOCKSOURCE_INTERNAL;
  if (HAL_TIM_ConfigClockSource(&htim12, &sClockSourceConfig) != HAL_OK)
  {
    Error_Handler();
  }
  if (HAL_TIM_PWM_Init(&htim12) != HAL_OK)
  {
    Error_Handler();
  }
  sConfigOC.OCMode = TIM_OCMODE_PWM1;
  sConfigOC.Pulse = 0;
  sConfigOC.OCPolarity = TIM_OCPOLARITY_HIGH;
  sConfigOC.OCFastMode = TIM_OCFAST_DISABLE;
  if (HAL_TIM_PWM_ConfigChannel(&htim12, &sConfigOC, TIM_CHANNEL_1) != HAL_OK)
  {
    Error_Handler();
  }
  HAL_TIM_MspPostInit(&htim12);

}

static void MX_TIM14_Init(void)
{

  TIM_OC_InitTypeDef sConfigOC = {0};

  htim14.Instance = TIM14;
  htim14.Init.Prescaler = 0;
  htim14.Init.CounterMode = TIM_COUNTERMODE_UP;
  htim14.Init.Period = 0;
  htim14.Init.ClockDivision = TIM_CLOCKDIVISION_DIV1;
  htim14.Init.AutoReloadPreload = TIM_AUTORELOAD_PRELOAD_DISABLE;
  if (HAL_TIM_Base_Init(&htim14) != HAL_OK)
  {
    Error_Handler();
  }
  if (HAL_TIM_PWM_Init(&htim14) != HAL_OK)
  {
    Error_Handler();
  }
  sConfigOC.OCMode = TIM_OCMODE_PWM1;
  sConfigOC.Pulse = 0;
  sConfigOC.OCPolarity = TIM_OCPOLARITY_HIGH;
  sConfigOC.OCFastMode = TIM_OCFAST_DISABLE;
  if (HAL_TIM_PWM_ConfigChannel(&htim14, &sConfigOC, TIM_CHANNEL_1) != HAL_OK)
  {
    Error_Handler();
  }
  HAL_TIM_MspPostInit(&htim14);

}

static void MX_UART4_Init(void)
{

  huart4.Instance = UART4;
  huart4.Init.BaudRate = 9600;
  huart4.Init.WordLength = UART_WORDLENGTH_8B;
  huart4.Init.StopBits = UART_STOPBITS_1;
  huart4.Init.Parity = UART_PARITY_NONE;
  huart4.Init.Mode = UART_MODE_TX_RX;
  huart4.Init.HwFlowCtl = UART_HWCONTROL_NONE;
  huart4.Init.OverSampling = UART_OVERSAMPLING_16;
  if (HAL_UART_Init(&huart4) != HAL_OK)
  {
    Error_Handler();
  }

}

static void MX_UART5_Init(void)
{

  huart5.Instance = UART5;
  huart5.Init.BaudRate = 9600;
  huart5.Init.WordLength = UART_WORDLENGTH_8B;
  huart5.Init.StopBits = UART_STOPBITS_1;
  huart5.Init.Parity = UART_PARITY_NONE;
  huart5.Init.Mode = UART_MODE_TX_RX;
  huart5.Init.HwFlowCtl = UART_HWCONTROL_NONE;
  huart5.Init.OverSampling = UART_OVERSAMPLING_16;
  if (HAL_UART_Init(&huart5) != HAL_OK)
  {
    Error_Handler();
  }

}

static void MX_USART2_UART_Init(void)
{

  huart2.Instance = USART2;
  huart2.Init.BaudRate = 9600;
  huart2.Init.WordLength = UART_WORDLENGTH_8B;
  huart2.Init.StopBits = UART_STOPBITS_1;
  huart2.Init.Parity = UART_PARITY_NONE;
  huart2.Init.Mode = UART_MODE_TX_RX;
  huart2.Init.HwFlowCtl = UART_HWCONTROL_NONE;
  huart2.Init.OverSampling = UART_OVERSAMPLING_16;
  if (HAL_UART_Init(&huart2) != HAL_OK)
  {
    Error_Handler();
  }

}

static void MX_DMA_Init(void)
{

  /* DMA controller clock enable */
  __HAL_RCC_DMA1_CLK_ENABLE();

  /* DMA interrupt init */
  /* DMA1_Stream0_IRQn interrupt configuration */
  HAL_NVIC_SetPriority(DMA1_Stream0_IRQn, 0, 0);
  HAL_NVIC_EnableIRQ(DMA1_Stream0_IRQn);
  /* DMA1_Stream2_IRQn interrupt configuration */
  HAL_NVIC_SetPriority(DMA1_Stream2_IRQn, 0, 0);
  HAL_NVIC_EnableIRQ(DMA1_Stream2_IRQn);
  /* DMA1_Stream3_IRQn interrupt configuration */
  HAL_NVIC_SetPriority(DMA1_Stream3_IRQn, 0, 0);
  HAL_NVIC_EnableIRQ(DMA1_Stream3_IRQn);
  /* DMA1_Stream4_IRQn interrupt configuration */
  HAL_NVIC_SetPriority(DMA1_Stream4_IRQn, 0, 0);
  HAL_NVIC_EnableIRQ(DMA1_Stream4_IRQn);
  /* DMA1_Stream5_IRQn interrupt configuration */
  HAL_NVIC_SetPriority(DMA1_Stream5_IRQn, 0, 0);
  HAL_NVIC_EnableIRQ(DMA1_Stream5_IRQn);
  /* DMA1_Stream6_IRQn interrupt configuration */
  HAL_NVIC_SetPriority(DMA1_Stream6_IRQn, 0, 0);
  HAL_NVIC_EnableIRQ(DMA1_Stream6_IRQn);
  /* DMA1_Stream7_IRQn interrupt configuration */
  HAL_NVIC_SetPriority(DMA1_Stream7_IRQn, 0, 0);
  HAL_NVIC_EnableIRQ(DMA1_Stream7_IRQn);

}

static void MX_GPIO_Init(void)
{
  GPIO_InitTypeDef GPIO_InitStruct = {0};

  /* GPIO Ports Clock Enable */
  __HAL_RCC_GPIOC_CLK_ENABLE();
  __HAL_RCC_GPIOH_CLK_ENABLE();
  __HAL_RCC_GPIOA_CLK_ENABLE();
  __HAL_RCC_GPIOB_CLK_ENABLE();
  __HAL_RCC_GPIOD_CLK_ENABLE();

  /*Configure GPIO pin Output Level */
  HAL_GPIO_WritePin(LED4_GPIO_Port, LED4_Pin, GPIO_PIN_RESET);

  /*Configure GPIO pin Output Level */
  HAL_GPIO_WritePin(GPIOC, IO_OUT_1_Pin|IO_OUT_2_Pin, GPIO_PIN_RESET);

  /*Configure GPIO pin Output Level */
  HAL_GPIO_WritePin(GPIOB, LED3_Pin|LED2_Pin, GPIO_PIN_RESET);

  /*Configure GPIO pin : USR_BUTT_Pin */
  GPIO_InitStruct.Pin = USR_BUTT_Pin;
  GPIO_InitStruct.Mode = GPIO_MODE_INPUT;
  GPIO_InitStruct.Pull = GPIO_NOPULL;
  HAL_GPIO_Init(USR_BUTT_GPIO_Port, &GPIO_InitStruct);

  /*Configure GPIO pin : LED4_Pin */
  GPIO_InitStruct.Pin = LED4_Pin;
  GPIO_InitStruct.Mode = GPIO_MODE_OUTPUT_PP;
  GPIO_InitStruct.Pull = GPIO_NOPULL;
  GPIO_InitStruct.Speed = GPIO_SPEED_FREQ_LOW;
  HAL_GPIO_Init(LED4_GPIO_Port, &GPIO_InitStruct);

  /*Configure GPIO pin : IO_IN_2_Pin */
  GPIO_InitStruct.Pin = IO_IN_2_Pin;
  GPIO_InitStruct.Mode = GPIO_MODE_INPUT;
  GPIO_InitStruct.Pull = GPIO_NOPULL;
  HAL_GPIO_Init(IO_IN_2_GPIO_Port, &GPIO_InitStruct);

  /*Configure GPIO pins : IO_OUT_1_Pin IO_OUT_2_Pin */
  GPIO_InitStruct.Pin = IO_OUT_1_Pin|IO_OUT_2_Pin;
  GPIO_InitStruct.Mode = GPIO_MODE_OUTPUT_PP;
  GPIO_InitStruct.Pull = GPIO_NOPULL;
  GPIO_InitStruct.Speed = GPIO_SPEED_FREQ_LOW;
  HAL_GPIO_Init(GPIOC, &GPIO_InitStruct);

  /*Configure GPIO pin : ADC_IN_Pin */
  GPIO_InitStruct.Pin = ADC_IN_Pin;
  GPIO_InitStruct.Mode = GPIO_MODE_ANALOG;
  GPIO_InitStruct.Pull = GPIO_NOPULL;
  HAL_GPIO_Init(ADC_IN_GPIO_Port, &GPIO_InitStruct);

  /*Configure GPIO pins : LED3_Pin LED2_Pin */
  GPIO_InitStruct.Pin = LED3_Pin|LED2_Pin;
  GPIO_InitStruct.Mode = GPIO_MODE_OUTPUT_PP;
  GPIO_InitStruct.Pull = GPIO_NOPULL;
  GPIO_InitStruct.Speed = GPIO_SPEED_FREQ_LOW;
  HAL_GPIO_Init(GPIOB, &GPIO_InitStruct);

}

void Error_Handler(void)
{
}

/************************ (C) COPYRIGHT STMicroelectronics *****END OF FILE****/
